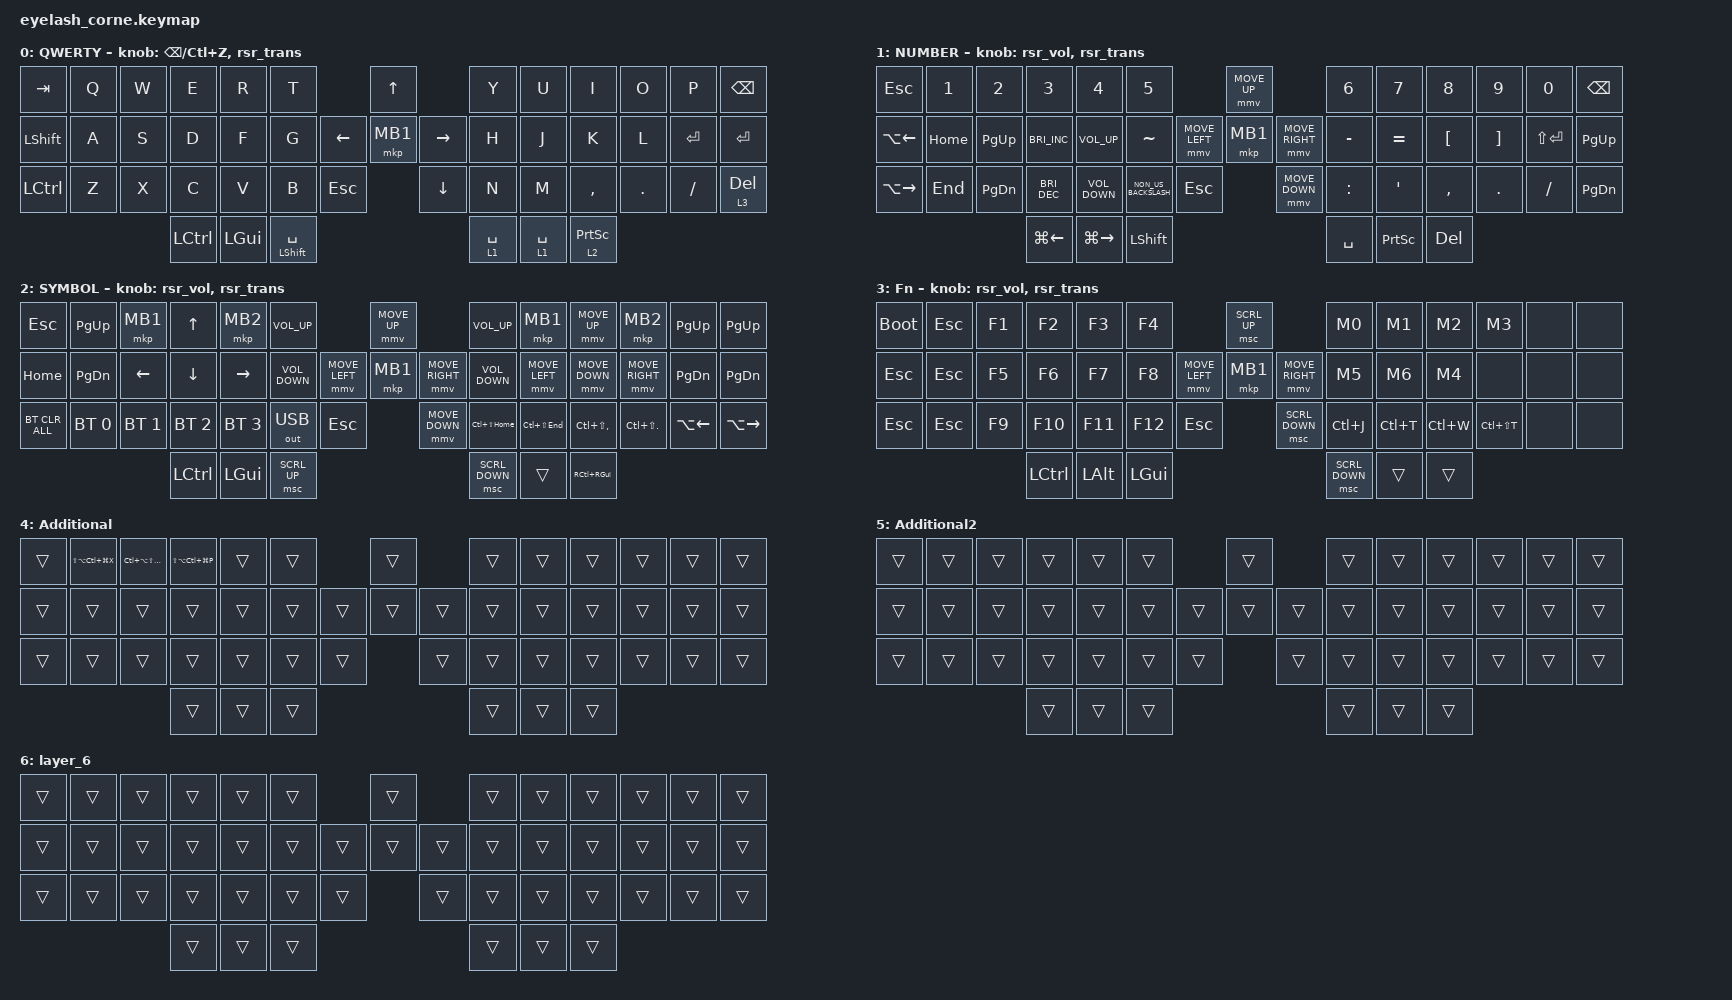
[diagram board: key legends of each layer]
#define ZMK_POINTING_DEFAULT_MOVE_VAL 1200  // 600
#define ZMK_POINTING_DEFAULT_SCRL_VAL 25   // 10

#include <input/processors.dtsi>
#include <zephyr/dt-bindings/input/input-event-codes.h>
#include <behaviors/runtime-sensor-rotate.dtsi>
#include <behaviors.dtsi>
#include <dt-bindings/zmk/bt.h>
#include <dt-bindings/zmk/keys.h>
#include <dt-bindings/zmk/outputs.h>
#include <dt-bindings/zmk/pointing.h>

&soft_off { hold-time-ms = <2000>; };

/ {
    behaviors {
        td0: td0 {
            compatible = "zmk,behavior-tap-dance";
            display-name = "Shift/Caps Lock Tap Dance";
            #binding-cells = <0>;
            bindings = <&kp LEFT_SHIFT>, <&kp CAPS>;
        };

        rsr_vol: rsr_vol {
            compatible = "zmk,behavior-runtime-sensor-rotate";
            #sensor-binding-cells = <0>;
            tap-ms = <5>;
            cw-binding = <&kp C_VOL_UP>;
            ccw-binding = <&kp C_VOL_DN>;
        };

        rsr_trans: rsr_trans {
            compatible = "zmk,behavior-runtime-sensor-rotate";
            #sensor-binding-cells = <0>;
            tap-ms = <0>;
        };
    };

    combos {
        compatible = "zmk,combos";

        number1 {
            bindings = <&kp NUMBER_1>;
            key-positions = <14 1>;
        };

        number2 {
            bindings = <&kp NUMBER_2>;
            key-positions = <2 15>;
        };

        number3 {
            bindings = <&kp NUMBER_3>;
            key-positions = <3 16>;
        };

        number4 {
            bindings = <&kp NUMBER_4>;
            key-positions = <4 17>;
        };

        number5 {
            bindings = <&kp N5>;
            key-positions = <5 18>;
        };

        number6 {
            bindings = <&kp NUMBER_6>;
            key-positions = <7 22>;
        };

        number7 {
            bindings = <&kp N7>;
            key-positions = <8 23>;
        };

        number8 {
            bindings = <&kp N8>;
            key-positions = <9 24>;
        };

        number9 {
            bindings = <&kp N9>;
            key-positions = <10 25>;
        };

        number0 {
            bindings = <&kp N0>;
            key-positions = <11 26>;
        };

        layer4 {
            bindings = <&mo 4>;
            key-positions = <38 39>;
        };

        layer5 {
            bindings = <&mo 5>;
            key-positions = <37 36>;
        };

        layer6 {
            bindings = <&mo 6>;
            key-positions = <24 38>;
        };

        Delete {
            bindings = <&kp DELETE>;
            key-positions = <10 12>;
        };

        altkey {
            bindings = <&kp LEFT_ALT>;
            key-positions = <42 43>;
        };

        backspace {
            bindings = <&kp BACKSPACE>;
            key-positions = <4 5>;
        };

        enter {
            bindings = <&kp ENTER>;
            key-positions = <17 18>;
        };

        leftdelete {
            bindings = <&kp DELETE>;
            key-positions = <5 3>;
        };
    };

    macros {
        M0: M0 {
            compatible = "zmk,behavior-macro";
            #binding-cells = <0>;
            bindings = <&kp N1 &kp N7 &kp N7 &kp N1 &kp N0 &kp N2 &kp N8 &kp N3 &kp N5 &kp N1 &kp N2>;
            label = "M0";
        };

        M1: M1 {
            compatible = "zmk,behavior-macro";
            #binding-cells = <0>;
            bindings = <&kp A &kp M &kp Y &kp V &kp O &kp I &kp C &kp E &kp AT &kp N1 &kp N6 &kp N3 &kp DOT &kp C &kp O &kp M &kp SPACE>;
            label = "M1";
        };

        M2: M2 {
            compatible = "zmk,behavior-macro";
            #binding-cells = <0>;
            bindings = <&kp EQUAL &kp LS(V) &kp LS(L) &kp LS(O) &kp LS(O) &kp LS(K) &kp LS(U) &kp LS(P) &kp LPAR &kp LS(A) &kp N2 &kp COMMA &kp DLLR &kp LS(G) &kp DLLR &kp N1 &kp COLON &kp DLLR &kp LS(H) &kp DLLR &kp N1 &kp N5 &kp N8 &kp COMMA &kp N2 &kp COMMA &kp N0 &kp RPAR>;
            label = "M2";
        };

        M3: M3 {
            compatible = "zmk,behavior-macro";
            #binding-cells = <0>;
            bindings = <&kp A &kp M &kp Y &kp V &kp O &kp I &kp C &kp E &kp C &kp H &kp E &kp N &kp N0 &kp N0 &kp N1 &kp AT &kp G &kp M &kp A &kp I &kp L &kp DOT &kp C &kp O &kp M>;
            label = "M3";
        };

        M4: M4 {
            compatible = "zmk,behavior-macro";
            #binding-cells = <0>;
            bindings = <&kp LS(A) &kp M &kp Y &kp V &kp O &kp I &kp C &kp E &kp N2 &kp N0 &kp N2 &kp N4 &kp N0 &kp N7 &kp N0 &kp N8>;
            label = "M4";
        };

        M5: M5 {
            compatible = "zmk,behavior-macro";
            #binding-cells = <0>;
            bindings = <&kp LS(S) &kp U &kp N &kp N &kp I &kp W &kp E &kp L &kp L &kp DOT &kp N2 &kp N0 &kp N2 &kp N0>;
            label = "M5";
        };

        M6: M6 {
            compatible = "zmk,behavior-macro";
            #binding-cells = <0>;
            bindings = <&kp LC(L) &kp H &kp T &kp T &kp P &kp S &kp COLON &kp FSLH &kp FSLH &kp W &kp W &kp W &kp DOT &kp X &kp I &kp A &kp O &kp H &kp O &kp N &kp G &kp S &kp H &kp U &kp DOT &kp C &kp O &kp M &kp SPACE &kp ENTER>;
            label = "M6";
        };
    };

    keymap {
        compatible = "zmk,keymap";

        Default {
            display-name = "QWERTY";
            bindings = <
&kp TAB         &kp Q  &kp W  &kp E      &kp R         &kp T                                         &kp UP               &kp Y        &kp U        &kp I              &kp O    &kp P      &kp BSPC
&kp LEFT_SHIFT  &kp A  &kp S  &kp D      &kp F         &kp G                               &kp LEFT  &mkp MB1  &kp RIGHT  &kp H        &kp J        &kp K              &kp L    &kp ENTER  &kp ENTER
&kp LCTRL       &kp Z  &kp X  &kp C      &kp V         &kp B                 &kp ESCAPE              &kp DOWN             &kp N        &kp M        &kp COMMA          &kp DOT  &kp FSLH   &lt 3 DELETE
                              &kp LCTRL  &kp LEFT_GUI  &mt LEFT_SHIFT SPACE                                               &lt 1 SPACE  &lt 1 SPACE  &lt 2 PRINTSCREEN
            >;

            sensor-bindings = <&inc_dec_kp BACKSPACE LC(Z)>, <&rsr_trans>;
        };

        NUMBER {
            display-name = "NUMBER";
            bindings = <
&kp ESCAPE     &kp N1    &kp N2         &kp N3                &kp N4             &kp N5                                              &mmv MOVE_UP                     &kp N6     &kp N7            &kp N8            &kp N9             &kp N0         &kp BSPC
&kp LA(LEFT)   &kp HOME  &kp PAGE_UP    &kp C_BRIGHTNESS_INC  &kp C_VOLUME_UP    &kp TILDE                           &mmv MOVE_LEFT  &mkp MB1        &mmv MOVE_RIGHT  &kp MINUS  &kp EQUAL         &kp LEFT_BRACKET  &kp RIGHT_BRACKET  &kp LS(ENTER)  &kp PG_UP
&kp LA(RIGHT)  &kp END   &kp PAGE_DOWN  &kp C_BRIGHTNESS_DEC  &kp C_VOLUME_DOWN  &kp NON_US_BACKSLASH  &kp ESCAPE                    &mmv MOVE_DOWN                   &kp COLON  &kp SINGLE_QUOTE  &kp COMMA         &kp PERIOD         &kp SLASH      &kp PG_DN
                                        &kp LG(LEFT)          &kp LG(RIGHT)      &kp LEFT_SHIFT                                                                       &kp SPACE  &kp PRINTSCREEN   &kp DELETE
            >;

            sensor-bindings = <&rsr_vol &rsr_trans>;
        };

        ArrowMouseBT {
            display-name = "SYMBOL";
            bindings = <
&kp ESCAPE      &kp PAGE_UP    &mkp MB1      &kp UP_ARROW  &mkp MB2      &kp C_VOLUME_UP                                  &mmv MOVE_UP                     &kp C_VOLUME_UP    &mkp MB1         &mmv MOVE_UP       &mkp MB2            &kp PAGE_UP    &kp PAGE_UP
&kp HOME        &kp PAGE_DOWN  &kp LEFT      &kp DOWN      &kp RIGHT     &kp C_VOLUME_DOWN                &mmv MOVE_LEFT  &mkp MB1        &mmv MOVE_RIGHT  &kp C_VOLUME_DOWN  &mmv MOVE_LEFT   &mmv MOVE_DOWN     &mmv MOVE_RIGHT     &kp PAGE_DOWN  &kp PAGE_DOWN
&bt BT_CLR_ALL  &bt BT_SEL 0   &bt BT_SEL 1  &bt BT_SEL 2  &bt BT_SEL 3  &out OUT_USB       &kp ESCAPE                    &mmv MOVE_DOWN                   &kp LC(LS(HOME))   &kp LC(LS(END))  &kp LC(LS(COMMA))  &kp LC(LS(PERIOD))  &kp LA(LEFT)   &kp LA(RIGHT)
                                             &kp LCTRL     &kp LEFT_GUI  &msc SCRL_UP                                                                      &msc SCRL_DOWN     &trans           &kp RC(RIGHT_GUI)
            >;

            sensor-bindings = <&rsr_vol &rsr_trans>;
        };

        FunctionAndMacro {
            display-name = "Fn";
            bindings = <
&bootloader  &kp ESC  &kp F1  &kp F2     &kp F3    &kp F4                               &msc SCRL_UP                     &M0             &M1        &M2        &M3            &none  &none
&kp ESC      &kp ESC  &kp F5  &kp F6     &kp F7    &kp F8               &mmv MOVE_LEFT  &mkp MB1        &mmv MOVE_RIGHT  &M5             &M6        &M4        &none          &none  &none
&kp ESC      &kp ESC  &kp F9  &kp F10    &kp F11   &kp F12   &kp ESC                    &msc SCRL_DOWN                   &kp LC(J)       &kp LC(T)  &kp LC(W)  &kp LC(LS(T))  &none  &none
                              &kp LCTRL  &kp LALT  &kp LGUI                                                              &msc SCRL_DOWN  &trans     &trans
            >;

            sensor-bindings = <&rsr_vol &rsr_trans>;
        };

        Additional {
            bindings = <
&trans  &kp LS(LA(LC(LG(X))))  &kp LC(LA(LS(LG(W))))  &kp LS(LA(LC(LG(P))))  &trans  &trans                    &trans          &trans  &trans  &trans  &trans  &trans  &trans
&trans  &trans                 &trans                 &trans                 &trans  &trans            &trans  &trans  &trans  &trans  &trans  &trans  &trans  &trans  &trans
&trans  &trans                 &trans                 &trans                 &trans  &trans  &trans            &trans          &trans  &trans  &trans  &trans  &trans  &trans
                                                      &trans                 &trans  &trans                                    &trans  &trans  &trans
            >;
        };

        Additional2 {
            bindings = <
&trans  &trans  &trans  &trans  &trans  &trans                    &trans          &trans  &trans  &trans  &trans  &trans  &trans
&trans  &trans  &trans  &trans  &trans  &trans            &trans  &trans  &trans  &trans  &trans  &trans  &trans  &trans  &trans
&trans  &trans  &trans  &trans  &trans  &trans  &trans            &trans          &trans  &trans  &trans  &trans  &trans  &trans
                        &trans  &trans  &trans                                    &trans  &trans  &trans
            >;
        };

        layer_6 {
            bindings = <
&trans  &trans  &trans  &trans  &trans  &trans                    &trans          &trans  &trans  &trans  &trans  &trans  &trans
&trans  &trans  &trans  &trans  &trans  &trans            &trans  &trans  &trans  &trans  &trans  &trans  &trans  &trans  &trans
&trans  &trans  &trans  &trans  &trans  &trans  &trans            &trans          &trans  &trans  &trans  &trans  &trans  &trans
                        &trans  &trans  &trans                                    &trans  &trans  &trans
            >;
        };
    };
};
